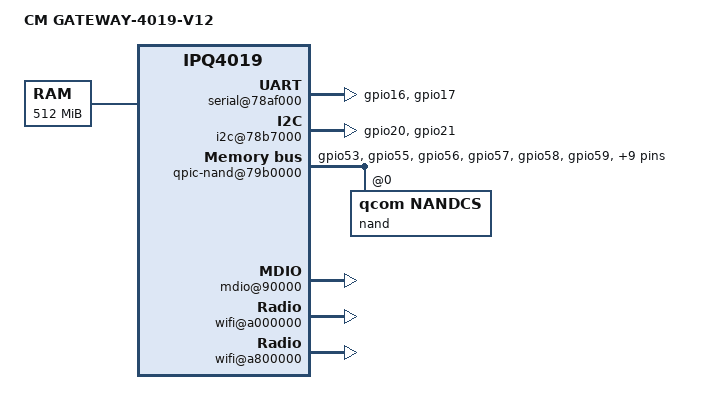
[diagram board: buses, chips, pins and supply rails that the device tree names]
// SPDX-License-Identifier: GPL-2.0
// Copyright (c) 2018, The Linux Foundation. All rights reserved.

#include "qcom-ipq4019.dtsi"
#include <dt-bindings/input/input.h>
#include <dt-bindings/gpio/gpio.h>

/ {
	model = "CM GATEWAY-4019-V12";

	memory {
		device_type = "memory";
		reg = <0x80000000 0x20000000>; /* 512MB */
	};

	soc {
		pinctrl@1000000 {
			serial_0_pins: serial0-pinmux {
				pins = "gpio16", "gpio17";
				function = "blsp_uart0";
				bias-disable;
			};

			i2c_0_pins: i2c-0-pinmux {
				pins = "gpio20", "gpio21";
				function = "blsp_i2c0";
				bias-disable;
			};

			nand_pins: nand-pins {
				pins = "gpio53", "gpio55", "gpio56",
				       "gpio57", "gpio58", "gpio59",
				       "gpio60", "gpio62", "gpio63",
				       "gpio64", "gpio65", "gpio66",
				       "gpio67", "gpio68", "gpio69";
				function = "qpic";
                        };
		};

		serial@78af000 {
			pinctrl-0 = <&serial_0_pins>;
			pinctrl-names = "default";
			status = "ok";
		};

		dma@7884000 {
			status = "ok";
		};

		i2c@78b7000 { /* BLSP1 QUP2 */
			pinctrl-0 = <&i2c_0_pins>;
			pinctrl-names = "default";
			status = "ok";
		};

		dma@7984000 {
			status = "ok";
		};

		qpic-nand@79b0000 {
			compatible = "qcom,ipq4019-nand", "qcom,msm-nand";
			pinctrl-0 = <&nand_pins>;
			pinctrl-names = "default";
			status = "ok";

			nand@0 {
				compatible = "qcom,nandcs";
				reg = <0>;
				#address-cells = <1>;
				#size-cells = <1>;

				nand-ecc-strength = <4>;
				nand-ecc-step-size = <512>;
				nand-bus-width = <8>;
			};
		};

		mdio@90000 {
			status = "okay";
		};

		ess-switch@c000000 {
				status = "okay";
				switch_mac_mode = <0x0>; /* mac mode for RGMII RMII */
				switch_initvlas = <
					0x0007c 0x54 /* PORT0_STATUS */
				>;
			};

		ess-psgmii@98000 {
			status = "okay";
		};

		edma@c080000 {
			status = "okay";
		};

		wifi@a000000 {
			status = "okay";
		};

		wifi@a800000 {
			status = "okay";
		};
	};
};
